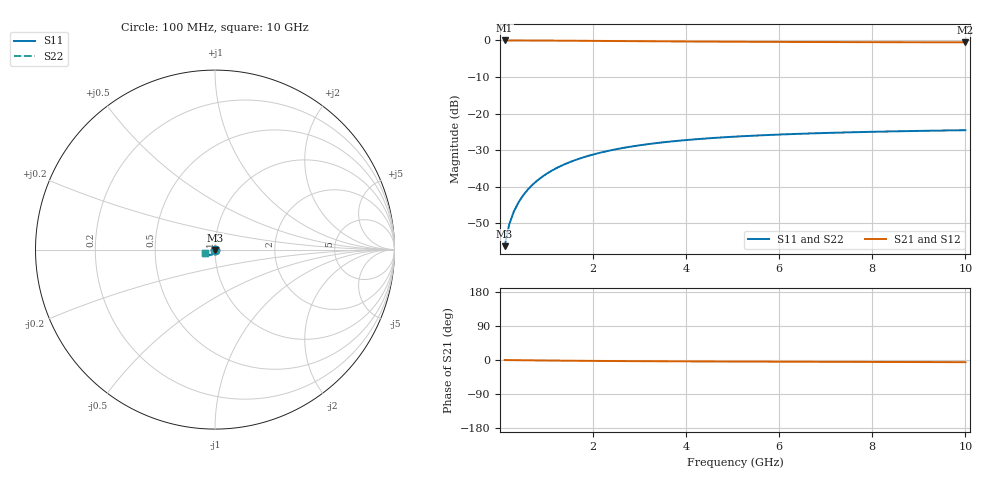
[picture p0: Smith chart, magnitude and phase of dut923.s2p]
! Touchstone file exported from HFSS 2024.1.0
!  File:  C:/UserFiles/LocalFiles/RDL_TSV_Batchsim/temp_TSV1_923_1779946409.aedt
!  Generated:  01:38:31 PM May 28, 2026
!  Design:  TSV1
!  Project:  temp_TSV1_923_1779946409
!  Setup:  Setup1
!  Solution:  Sweep
! Variables:
!  dtsv = 10.69um
!  hbump = 3um
!  htsv = 90.84um
!  lrdl = 252.1521522um
!  p = 40
!  p1 = 42.22um
!  t = 500um
!  trdl = 3um
!  wrdl = 24.89489489um
# GHz S MA R 50.000000
! Terminal data exported
! Port[1] = TSV22_T1
! Port[2] = TSV22_T2
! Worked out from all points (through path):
!   100 points, 100 MHz to 10 GHz, reference 50 ohm
!   highest |S21| = 0.00 dB at 100 MHz (marker M1); lowest = -0.5 dB at 10 GHz (marker M2)
!   lowest |S11| = -56.2 dB at 100 MHz (marker M3), VSWR 1.00, Z = 50 - j0.154 ohm
!   |S11| at or under -10 dB: start of sweep to end of sweep
!   |S22| runs from -56.2 to -24.5 dB; largest |S21 - S12| = 5.1e-15
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0.1  0.001545 -86.3  0.9998 -0.1  0.9998 -0.1  0.001545 -86.3
! Gamma 0 0 0 0
! Port Impedance 50 0 50 0
0.2  0.003083 -90.2  0.9997 -0.3  0.9997 -0.3  0.003083 -90.2
0.3  0.004621 -92.5  0.9994 -0.4  0.9994 -0.4  0.004621 -92.5
0.4  0.006156 -94.5  0.9991 -0.5  0.9991 -0.5  0.006156 -94.5
0.5  0.007682 -96.2  0.9988 -0.7  0.9988 -0.7  0.007682 -96.2
0.6  0.009195 -97.9  0.9983 -0.8  0.9983 -0.8  0.009195 -97.9
0.7  0.01069 -99.5  0.9978 -0.9  0.9978 -0.9  0.01069 -99.5
0.8  0.01217 -101.1  0.9972 -1.1  0.9972 -1.1  0.01217 -101.1
0.9  0.01362 -102.7  0.9966 -1.2  0.9966 -1.2  0.01362 -102.7
1.1  0.01644 -105.7  0.9951 -1.4  0.9951 -1.4  0.01644 -105.7
1.4  0.02046 -110.0  0.9926 -1.8  0.9926 -1.8  0.02046 -110.0
1.6  0.02298 -112.7  0.9908 -2.0  0.9908 -2.0  0.02298 -112.7
1.8  0.02537 -115.3  0.9889 -2.2  0.9889 -2.2  0.02537 -115.3
2.1  0.02869 -119.0  0.9859 -2.4  0.9859 -2.4  0.02869 -119.0
2.5  0.03266 -123.5  0.9819 -2.8  0.9819 -2.8  0.03266 -123.5
2.9  0.03613 -127.6  0.9779 -3.0  0.9779 -3.0  0.03613 -127.6
3.4  0.03984 -132.2  0.9733 -3.3  0.9733 -3.3  0.03984 -132.2
4.2  0.04462 -138.5  0.9667 -3.7  0.9667 -3.7  0.04462 -138.5
5.1  0.04869 -144.4  0.9605 -4.1  0.9605 -4.1  0.04869 -144.4
6.7  0.0537 -152.5  0.9524 -4.7  0.9524 -4.7  0.0537 -152.5
8.4  0.05715 -159.1  0.9464 -5.2  0.9464 -5.2  0.05715 -159.1
10  0.05938 -164.1  0.9424 -5.7  0.9424 -5.7  0.05938 -164.1
